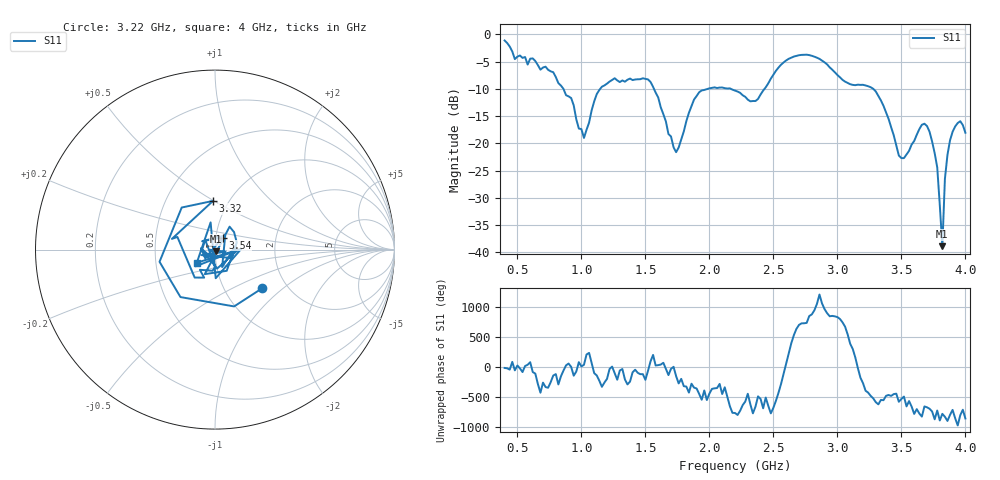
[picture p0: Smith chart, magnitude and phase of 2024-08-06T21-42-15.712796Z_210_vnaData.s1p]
!Created with skrf (http://scikit-rf.org).
# Hz S RI R 50.0
!freq ReS11 ImS11
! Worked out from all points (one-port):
!   181 points, 400 MHz to 4 GHz, reference 50 ohm
!   lowest |S11| = -38.9 dB at 3.82 GHz (marker M1), VSWR 1.02, Z = 50.4 - j1.06 ohm
!   |S11| at or under -10 dB: 859.6 MHz to 1.147 GHz (287.6 MHz wide, 28.7 % of centre); 1.567 GHz to 1.988 GHz (421.6 MHz wide, 23.7 % of centre); 3.28 GHz to end of sweep (the widest 3 of 4)
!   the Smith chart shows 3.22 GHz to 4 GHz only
!   S11 on the Smith chart (normalised r, x): 3.22 GHz: 1.49, -0.73; 3.32 GHz: 0.85, +0.50; 3.54 GHz: 1.08, +0.15; 4 GHz: 0.81, -0.12
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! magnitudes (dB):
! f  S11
! 400 MHz  -1.1
! 480 MHz  -4.6
! 860 MHz  -10.0
! 1.02 GHz  -19.0
! 1.14 GHz  -10.2
! 1.3 GHz  -8.8
! 1.54 GHz  -8.7
! 1.72 GHz  -20.7
! 1.76 GHz  -20.8
! 1.92 GHz  -10.6
! 2.2 GHz  -10.3
! 2.36 GHz  -12.2
! 2.66 GHz  -4.1
! 2.86 GHz  -4.5
! 3.1 GHz  -9.2
! 3.22 GHz  -9.4
! 3.32 GHz  -11.3
! 3.48 GHz  -22.2
! 3.54 GHz  -22.0
! 3.56 GHz  -21.4
! 3.66 GHz  -16.6
! 3.72 GHz  -17.9
! 3.78 GHz  -24.4
! 3.82 GHz  -38.9
! 3.84 GHz  -26.5
! 3.88 GHz  -19.4
! 3.96 GHz  -15.9
! 4 GHz  -18.1
